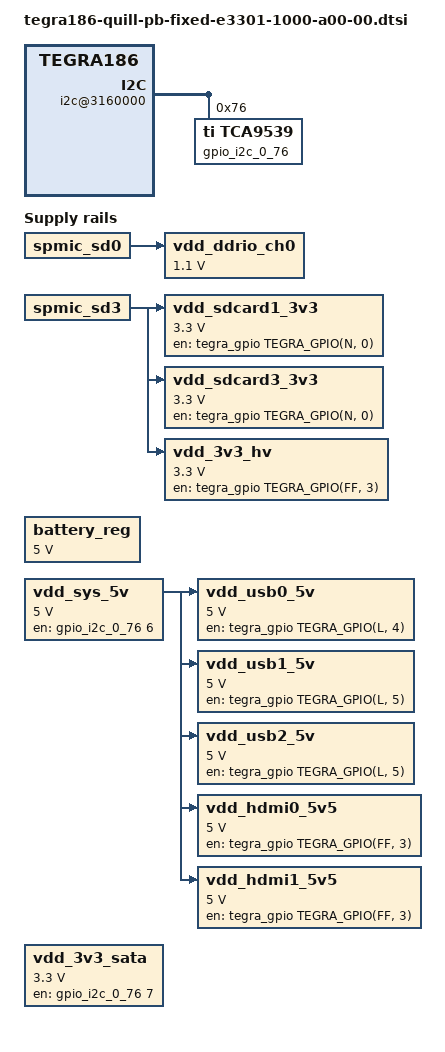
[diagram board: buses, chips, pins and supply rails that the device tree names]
/*
 * Copyright (c) 2015, NVIDIA CORPORATION.  All rights reserved.
 *
 * This program is free software; you can redistribute it and/or modify
 * it under the terms of the GNU General Public License as published by
 * the Free Software Foundation; either version 2 of the License, or
 * (at your option) any later version.
 *
 * This program is distributed in the hope that it will be useful, but WITHOUT
 * ANY WARRANTY; without even the implied warranty of MERCHANTABILITY or
 * FITNESS FOR A PARTICULAR PURPOSE.  See the GNU General Public License for
 * more details.
 */

#include <dt-bindings/gpio/tegra-gpio.h>

/ {
	i2c@3160000 {
		gpio_i2c_0_76: gpio@76 {
			compatible = "ti,tca9539";
			reg = <0x76>;
			gpio-controller;
			#gpio-cells = <2>;
			pcie_default_mux {
				gpio-output-high = <9 10 12>;
			};
			sata_default_mux {
				gpio-output-high = <14>;
			};
		};
	};

	fixed-regulators {
		battery_reg: regulator@0 {
			compatible = "regulator-fixed";
			reg = <0>;
			regulator-name = "vdd-ac-bat";
			regulator-min-microvolt = <5000000>;
			regulator-max-microvolt = <5000000>;
			regulator-always-on;
		};

		vdd_sys_5v: regulator@1 {
			compatible = "regulator-fixed-sync";
			reg = <1>;
			regulator-name = "vdd-sys-5v";
			regulator-min-microvolt = <5000000>;
			regulator-max-microvolt = <5000000>;
			gpio = <&gpio_i2c_0_76 6 0>;
			enable-active-high;
		};

		vdd_ddrio_ch0: regulator@2 {
			compatible = "regulator-fixed";
			reg = <2>;
			regulator-name = "vdd-ddrio-ch0";
			regulator-min-microvolt = <1100000>;
			regulator-max-microvolt = <1100000>;
			regulator-always-on;
			regulator-boot-on;
			vin-supply = <&spmic_sd0>;
		};

		vdd_3v3_sata: regulator@3 {
			compatible = "regulator-fixed-sync";
			reg = <3>;
			regulator-name = "vdd-3v3-sata";
			regulator-min-microvolt = <3300000>;
			regulator-max-microvolt = <3300000>;
			gpio = <&gpio_i2c_0_76 7 0>;
			enable-active-high;
		};

		vdd_usb0_5v: regulator@4 {
			compatible = "regulator-fixed";
			reg = <4>;
			regulator-name = "vdd-usb0-5v";
			regulator-min-microvolt = <5000000>;
			regulator-max-microvolt = <5000000>;
			gpio = <&tegra_gpio TEGRA_GPIO(L, 4) 0>;
			enable-active-high;
			vin-supply = <&vdd_sys_5v>;
		};

		vdd_usb1_5v: regulator@5 {
			compatible = "regulator-fixed";
			reg = <5>;
			regulator-name = "vdd-usb1-5v";
			regulator-min-microvolt = <5000000>;
			regulator-max-microvolt = <5000000>;
			gpio = <&tegra_gpio TEGRA_GPIO(L, 5) 0>;
			enable-active-high;
			vin-supply = <&vdd_sys_5v>;
		};

		vdd_usb2_5v: regulator@6 {
			compatible = "regulator-fixed";
			reg = <6>;
			regulator-name = "vdd-usb2-5v";
			regulator-min-microvolt = <5000000>;
			regulator-max-microvolt = <5000000>;
			gpio = <&tegra_gpio TEGRA_GPIO(L, 5) 0>;
			enable-active-high;
			vin-supply = <&vdd_sys_5v>;
		};

		vdd_sdcard1_3v3: regulator@7 {
			compatible = "regulator-fixed";
			reg = <7>;
			regulator-name = "vdd-sdcard1";
			regulator-min-microvolt = <3300000>;
			regulator-max-microvolt = <3300000>;
			gpio = <&tegra_gpio TEGRA_GPIO(N, 0) 0>;
			enable-active-high;
			vin-supply = <&spmic_sd3>;
		};

		vdd_sdcard3_3v3: regulator@8 {
			compatible = "regulator-fixed";
			reg = <8>;
			regulator-name = "vdd-sdcard3";
			regulator-min-microvolt = <3300000>;
			regulator-max-microvolt = <3300000>;
			gpio = <&tegra_gpio TEGRA_GPIO(N, 0) 0>;
			enable-active-high;
			vin-supply = <&spmic_sd3>;
		};

		vdd_3v3_hv: regulator@9 {
			compatible = "regulator-fixed";
			reg = <9>;
			regulator-name = "vdd-3v3-hv";
			regulator-min-microvolt = <3300000>;
			regulator-max-microvolt = <3300000>;
			gpio = <&tegra_gpio TEGRA_GPIO(FF, 3) 0>;
			enable-active-high;
			vin-supply = <&spmic_sd3>;
		};

		vdd_hdmi0_5v5: regulator@10 {
			compatible = "regulator-fixed";
			reg = <10>;
			regulator-name = "vdd-hdmi0-5v5";
			regulator-min-microvolt = <5000000>;
			regulator-max-microvolt = <5000000>;
			vin-supply = <&vdd_sys_5v>;
			gpio = <&tegra_gpio TEGRA_GPIO(FF, 3) 0>;
			enable-active-high;
		};

		vdd_hdmi1_5v5: regulator@11 {
			compatible = "regulator-fixed";
			reg = <11>;
			regulator-name = "vdd-hdmi1-5v5";
			regulator-min-microvolt = <5000000>;
			regulator-max-microvolt = <5000000>;
			vin-supply = <&vdd_sys_5v>;
			gpio = <&tegra_gpio TEGRA_GPIO(FF, 3) 0>;
			enable-active-high;
		};
	};
};
